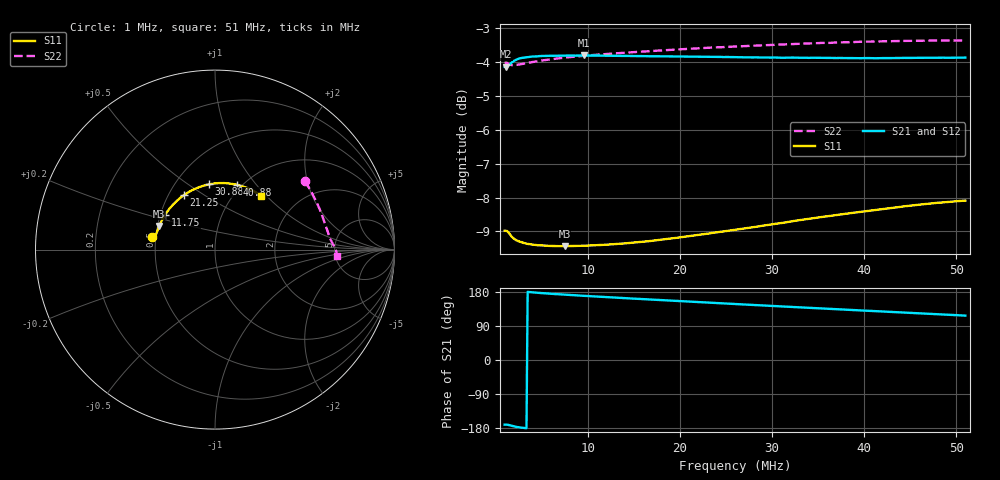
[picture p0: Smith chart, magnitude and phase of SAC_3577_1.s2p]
# MHz S RI R 50
! S-Parameters data
! Freq  reS11  imS11  reS21  imS21  reS12  imS12  reS22  imS22
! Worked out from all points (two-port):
!   401 points, 1 MHz to 51 MHz, reference 50 ohm
!   highest |S21| = -3.80 dB at 9.625 MHz (marker M1); lowest = -4.1 dB at 1.125 MHz (marker M2)
!   |S21| within 3 dB of the highest: start of sweep to end of sweep
!   lowest |S11| = -9.4 dB at 7.5 MHz (marker M3), VSWR 2.02, Z = 25.5 + j7.6 ohm
!   |S11| at or under -10 dB: nowhere
!   |S22| runs from -4.1 to -3.4 dB; largest |S21 - S12| = 0.0027
!   S11 on the Smith chart (normalised r, x): 1 MHz: 0.48, +0.07; 11.75 MHz: 0.53, +0.23; 21.25 MHz: 0.60, +0.41; 30.88 MHz: 0.72, +0.61; 40.88 MHz: 0.95, +0.80; 51 MHz: 1.32, +0.93
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1  -0.3491 0.0682  -0.6127 -0.1016  -0.6124 -0.1014  0.5023 0.3797
1.125  -0.3491 0.0682  -0.6127 -0.1016  -0.6125 -0.1014  0.5024 0.3796
1.375  -0.3479 0.0672  -0.615 -0.0958  -0.6153 -0.0958  0.5118 0.3645
2  -0.3405 0.0631  -0.6312 -0.0531  -0.6318 -0.0531  0.5696 0.256
2.25  -0.3385 0.0637  -0.6348 -0.0403  -0.6355 -0.0404  0.5822 0.2272
2.75  -0.3358 0.0671  -0.6394 -0.02  -0.6392 -0.02  0.598 0.1861
3.25  -0.333 0.0722  -0.6412 -0.00382  -0.6414 -0.00382  0.6082 0.1585
4  -0.3294 0.0814  -0.643 0.016  -0.643 0.0161  0.6175 0.1306
4.875  -0.3252 0.0934  -0.6432 0.0357  -0.6427 0.036  0.6245 0.1092
7.5  -0.3107 0.1319  -0.6396 0.0846  -0.6394 0.0848  0.6363 0.0751
9.375  -0.2978 0.1595  -0.6349 0.1155  -0.6346 0.1156  0.6413 0.0619
9.625  -0.296 0.1631  -0.6342 0.1195  -0.6338 0.1198  0.642 0.0604
11.75  -0.2787 0.1931  -0.6267 0.1521  -0.6263 0.1525  0.6462 0.0505
17.75  -0.2163 0.2683  -0.5981 0.2377  -0.5969 0.2377  0.6555 0.0326
21.25  -0.1726 0.304  -0.5768 0.2842  -0.5757 0.284  0.6601 0.0248
26  -0.1064 0.3406  -0.5428 0.3425  -0.5416 0.3419  0.6652 0.0155
30.875  -0.0331 0.3633  -0.5019 0.3975  -0.5006 0.3967  0.6698 0.00604
34.375  0.021 0.3704  -0.4707 0.4343  -0.469 0.4329  0.6725 -0.00059
40.875  0.1205 0.3617  -0.4053 0.4947  -0.404 0.4928  0.6764 -0.0138
42.75  0.1482 0.3542  -0.3854 0.5105  -0.3844 0.5087  0.6771 -0.0178
46.625  0.2026 0.3326  -0.3431 0.5405  -0.3421 0.5384  0.6784 -0.0262
51  0.2584 0.2976  -0.2925 0.5702  -0.2919 0.5677  0.6782 -0.0365
